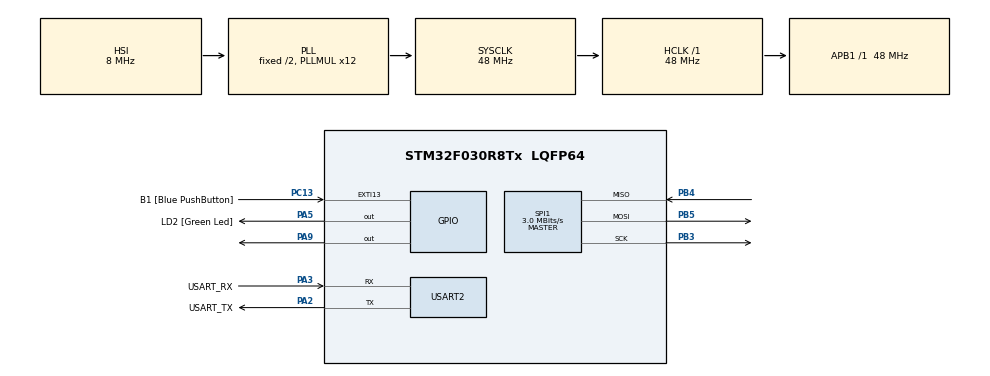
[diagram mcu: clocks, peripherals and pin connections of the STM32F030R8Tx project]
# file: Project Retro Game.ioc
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Mcu.Family=STM32F0
Mcu.Name=STM32F030R8Tx
Mcu.Package=LQFP64
PA13.GPIO_Label=TMS
PA13.Mode=Serial_Wire
PA13.Signal=SYS_SWDIO
PA14.Mode=Serial_Wire
PA14.Signal=SYS_SWCLK
PA2.GPIO_Label=USART_TX
PA2.GPIO_Mode=GPIO_MODE_AF_PP
PA2.GPIO_PuPd=GPIO_NOPULL
PA2.GPIO_Speed=GPIO_SPEED_FREQ_LOW
PA2.Mode=Asynchronous
PA2.Signal=USART2_TX
PA3.GPIO_Label=USART_RX
PA3.GPIO_Mode=GPIO_MODE_AF_PP
PA3.GPIO_PuPd=GPIO_NOPULL
PA3.GPIO_Speed=GPIO_SPEED_FREQ_LOW
PA3.Mode=Asynchronous
PA3.Signal=USART2_RX
PA5.GPIO_Label=LD2 [Green Led]
PA5.GPIO_Mode=GPIO_MODE_OUTPUT_PP
PA5.GPIO_PuPd=GPIO_NOPULL
PA5.GPIO_Speed=GPIO_SPEED_FREQ_LOW
PA5.Signal=GPIO_Output
PA9.Signal=GPIO_Output
PB3.Mode=Full_Duplex_Master
PB3.Signal=SPI1_SCK
PB4.Mode=Full_Duplex_Master
PB4.Signal=SPI1_MISO
PB5.Mode=Full_Duplex_Master
PB5.Signal=SPI1_MOSI
PC13.GPIO_Label=B1 [Blue PushButton]
PC13.GPIO_ModeDefaultEXTI=GPIO_MODE_IT_FALLING
PC13.Signal=GPXTI13
PC14-OSC32_IN.Mode=LSE-External-Oscillator
PC14-OSC32_IN.Signal=RCC_OSC32_IN
PC15-OSC32_OUT.Mode=LSE-External-Oscillator
PC15-OSC32_OUT.Signal=RCC_OSC32_OUT
PF0-OSC_IN.Mode=HSE-External-Clock-Source
PF0-OSC_IN.Signal=RCC_OSC_IN
PF1-OSC_OUT.Signal=RCC_OSC_OUT
ProjectManager.HeapSize=0x200
ProjectManager.StackSize=0x400
ProjectManager.TargetToolchain=SW4STM32
RCC.AHBFreq_Value=48000000
RCC.APB1Freq_Value=48000000
RCC.APB1TimFreq_Value=48000000
RCC.HCLKFreq_Value=48000000
RCC.PLLMUL=RCC_PLL_MUL12
RCC.SYSCLKFreq_VALUE=48000000
RCC.SYSCLKSource=RCC_SYSCLKSOURCE_PLLCLK
SPI1.BaudRatePrescaler=SPI_BAUDRATEPRESCALER_16
SPI1.CalculateBaudRate=3.0 MBits/s
SPI1.DataSize=SPI_DATASIZE_8BIT
SPI1.Direction=SPI_DIRECTION_2LINES
SPI1.Mode=SPI_MODE_MASTER
SPI1.VirtualType=VM_MASTER
USART2.VirtualMode-Asynchronous=VM_ASYNC
board=NUCLEO-F030R8

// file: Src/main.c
/* USER CODE BEGIN Header */
/**
  ******************************************************************************
  * @file           : main.c
  * @brief          : Main program body
  ******************************************************************************
  * @attention
  *
  * <h2><center>&copy; Copyright (c) 2020 STMicroelectronics.
  * All rights reserved.</center></h2>
  *
  * This software component is licensed by ST under BSD 3-Clause license,
  * the "License"; You may not use this file except in compliance with the
  * License. You may obtain a copy of the License at:
  *                        opensource.org/licenses/BSD-3-Clause
  *
  ******************************************************************************
  */
/* USER CODE END Header */

#include "main.h"
#include "spi.h"
#include "usart.h"
#include "gpio.h"

/* USER CODE BEGIN PV */
	uint8_t dataTest = 0x00;
	uint8_t oldData;
	bool tempVar = true;
/* USER CODE END PV */

void SystemClock_Config(void);
/* USER CODE BEGIN PFP */

void getInput(){
	//Get the user input (buttons etc)
	if(HAL_GPIO_ReadPin(GPIOC, GPIO_PIN_13) && tempVar){
		HAL_Delay(5);
		if(HAL_GPIO_ReadPin(GPIOC, GPIO_PIN_13)){
			HAL_GPIO_WritePin(GPIOA, GPIO_PIN_5, GPIO_PIN_SET);
			tempVar = false;
		}
	}
	else if(HAL_GPIO_ReadPin(GPIOC, GPIO_PIN_13) == GPIO_PIN_RESET && tempVar == false){
		HAL_Delay(5);
		if(HAL_GPIO_ReadPin(GPIOC, GPIO_PIN_13) == GPIO_PIN_RESET){
			HAL_GPIO_WritePin(GPIOA, GPIO_PIN_5, GPIO_PIN_RESET);
			tempVar = true;
		}

	}

}

void updateGame(){
	//Update the game logic

}

void renderGame(){
	//1. Send needed data over SPI to the FPGA

	writeSPI(0x1);

}

/* USER CODE END PFP */

int main(void)
{

  /* MCU Configuration--------------------------------------------------------*/

  /* Reset of all peripherals, Initializes the Flash interface and the Systick. */
  HAL_Init();

  /* Configure the system clock */
  SystemClock_Config();

  /* Initialize all configured peripherals */
  MX_GPIO_Init();
  MX_SPI1_Init();
  MX_USART2_UART_Init();

  /* Infinite loop */
  while (1)
  {

    /* USER CODE BEGIN 3 */
	  getInput();
	  updateGame();
	  renderGame();
  }
  /* USER CODE END 3 */
}

void SystemClock_Config(void)
{
  RCC_OscInitTypeDef RCC_OscInitStruct = {0};
  RCC_ClkInitTypeDef RCC_ClkInitStruct = {0};

  /** Initializes the CPU, AHB and APB busses clocks
  */
  RCC_OscInitStruct.OscillatorType = RCC_OSCILLATORTYPE_HSI;
  RCC_OscInitStruct.HSIState = RCC_HSI_ON;
  RCC_OscInitStruct.HSICalibrationValue = RCC_HSICALIBRATION_DEFAULT;
  RCC_OscInitStruct.PLL.PLLState = RCC_PLL_ON;
  RCC_OscInitStruct.PLL.PLLSource = RCC_PLLSOURCE_HSI;
  RCC_OscInitStruct.PLL.PLLMUL = RCC_PLL_MUL12;
  RCC_OscInitStruct.PLL.PREDIV = RCC_PREDIV_DIV1;
  if (HAL_RCC_OscConfig(&RCC_OscInitStruct) != HAL_OK)
  {
    Error_Handler();
  }
  /** Initializes the CPU, AHB and APB busses clocks
  */
  RCC_ClkInitStruct.ClockType = RCC_CLOCKTYPE_HCLK|RCC_CLOCKTYPE_SYSCLK
                              |RCC_CLOCKTYPE_PCLK1;
  RCC_ClkInitStruct.SYSCLKSource = RCC_SYSCLKSOURCE_PLLCLK;
  RCC_ClkInitStruct.AHBCLKDivider = RCC_SYSCLK_DIV1;
  RCC_ClkInitStruct.APB1CLKDivider = RCC_HCLK_DIV1;

  if (HAL_RCC_ClockConfig(&RCC_ClkInitStruct, FLASH_LATENCY_1) != HAL_OK)
  {
    Error_Handler();
  }
}

void Error_Handler(void)
{
}

/************************ (C) COPYRIGHT STMicroelectronics *****END OF FILE****/
